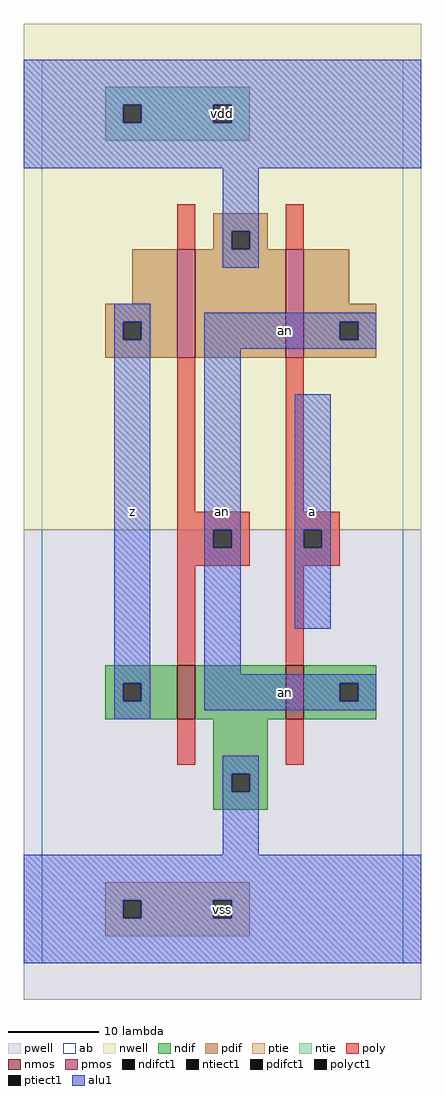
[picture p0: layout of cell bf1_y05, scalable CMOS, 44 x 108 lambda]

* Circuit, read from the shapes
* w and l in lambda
.subckt bf1_y05 a an vdd vss z
M1 vss an z vss nfet w=6 l=2
M2 an a vss vss nfet w=6 l=2
M3 vdd an z vdd pfet w=12 l=2
M4 an a vdd vdd pfet w=12 l=2
.ends

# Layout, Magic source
magic
tech scmos
<< ab >>
rect 0 0 40 100
<< nwell >>
rect -2 48 42 104
<< pwell >>
rect -2 -4 42 48
<< poly >>
rect 15 79 17 84
rect 27 79 29 84
rect 15 50 17 67
rect 27 50 29 67
rect 15 48 23 50
rect 15 46 19 48
rect 21 46 23 48
rect 15 44 23 46
rect 27 48 33 50
rect 27 46 29 48
rect 31 46 33 48
rect 27 44 33 46
rect 15 33 17 44
rect 27 33 29 44
rect 15 22 17 27
rect 27 22 29 27
<< ndif >>
rect 7 31 15 33
rect 7 29 9 31
rect 11 29 15 31
rect 7 27 15 29
rect 17 27 27 33
rect 29 31 37 33
rect 29 29 33 31
rect 35 29 37 31
rect 29 27 37 29
rect 19 21 25 27
rect 19 19 21 21
rect 23 19 25 21
rect 19 17 25 19
<< pdif >>
rect 19 81 25 83
rect 19 79 21 81
rect 23 79 25 81
rect 10 73 15 79
rect 7 71 15 73
rect 7 69 9 71
rect 11 69 15 71
rect 7 67 15 69
rect 17 67 27 79
rect 29 73 34 79
rect 29 71 37 73
rect 29 69 33 71
rect 35 69 37 71
rect 29 67 37 69
<< alu1 >>
rect -2 95 42 100
rect -2 93 9 95
rect 11 93 19 95
rect 21 93 42 95
rect -2 88 42 93
rect 20 81 24 88
rect 20 79 21 81
rect 23 79 24 81
rect 20 77 24 79
rect 8 71 12 73
rect 8 69 9 71
rect 11 69 12 71
rect 8 31 12 69
rect 8 29 9 31
rect 11 29 12 31
rect 8 27 12 29
rect 18 71 37 72
rect 18 69 33 71
rect 35 69 37 71
rect 18 68 37 69
rect 18 48 22 68
rect 18 46 19 48
rect 21 46 22 48
rect 18 32 22 46
rect 28 48 32 63
rect 28 46 29 48
rect 31 46 32 48
rect 28 37 32 46
rect 18 31 37 32
rect 18 29 33 31
rect 35 29 37 31
rect 18 28 37 29
rect 20 21 24 23
rect 20 19 21 21
rect 23 19 24 21
rect 20 12 24 19
rect -2 7 42 12
rect -2 5 9 7
rect 11 5 19 7
rect 21 5 42 7
rect -2 0 42 5
<< ptie >>
rect 7 7 23 9
rect 7 5 9 7
rect 11 5 19 7
rect 21 5 23 7
rect 7 3 23 5
<< ntie >>
rect 7 95 23 97
rect 7 93 9 95
rect 11 93 19 95
rect 21 93 23 95
rect 7 91 23 93
<< nmos >>
rect 15 27 17 33
rect 27 27 29 33
<< pmos >>
rect 15 67 17 79
rect 27 67 29 79
<< polyct1 >>
rect 19 46 21 48
rect 29 46 31 48
<< ndifct1 >>
rect 9 29 11 31
rect 33 29 35 31
rect 21 19 23 21
<< ntiect1 >>
rect 9 93 11 95
rect 19 93 21 95
<< ptiect1 >>
rect 9 5 11 7
rect 19 5 21 7
<< pdifct1 >>
rect 21 79 23 81
rect 9 69 11 71
rect 33 69 35 71
<< labels >>
rlabel alu1 10 50 10 50 6 z
rlabel ptiect1 20 6 20 6 6 vss
rlabel alu1 20 50 20 50 6 an
rlabel ntiect1 20 94 20 94 6 vdd
rlabel alu1 27 30 27 30 6 an
rlabel alu1 30 50 30 50 6 a
rlabel alu1 27 70 27 70 6 an
<< end >>
